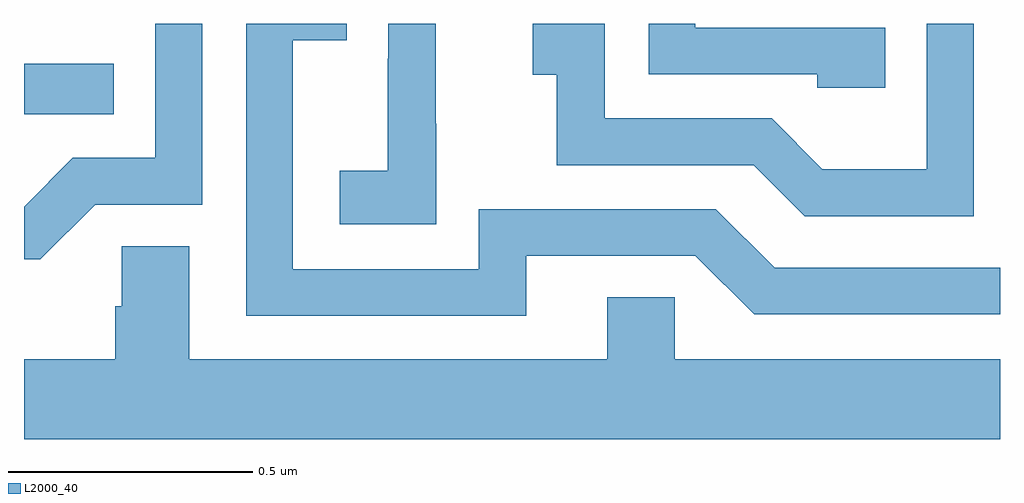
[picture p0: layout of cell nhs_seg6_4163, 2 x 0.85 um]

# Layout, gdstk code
import gdstk
lib = gdstk.Library(unit=1e-6, precision=1e-09)
def R(c, l, rs):  # rectangles x0, y0, x1, y1
    for r in rs: c.add(gdstk.rectangle(r[:2], r[2:], *l))
def P(c, l, *ps):  # polygons
    for p in ps: c.add(gdstk.Polygon(p, *l))
L2000_40 = (2000, 40)

nhs_seg6_4163 = lib.new_cell('nhs_seg6_4163')
R(nhs_seg6_4163, L2000_40, [(166,969.314,166.184,969.418)])
P(nhs_seg6_4163, L2000_40, [(166.146,969.129),(166.365,969.129),(166.365,969.5),(166.269,969.5),(166.269,969.225),(166.1,969.225),(166,969.125),(166,969.017),(166.033,969.017)],
  [(166.845,969.295),(166.844,969.295),(166.844,969.5),(166.746,969.5),(166.746,969.428),(166.745,969.428),(166.745,969.199),(166.647,969.199),(166.647,969.089),(166.845,969.089)],
  [(167.765,969.492),(167.376,969.492),(167.376,969.5),(167.28,969.5),(167.28,969.396),(167.625,969.396),(167.625,969.369),(167.765,969.369)],
  [(167.029,969.024),(167.376,969.024),(167.496,968.904),(168,968.904),(168,969),(167.538,969),(167.418,969.12),(166.932,969.12),(166.932,968.997),(166.551,968.997),(166.551,969.466),(166.661,969.466),(166.661,969.5),(166.455,969.5),(166.455,968.901),(167.029,968.901)],
  [(167.946,969.5),(167.85,969.5),(167.85,969.202),(167.636,969.202),(167.532,969.306),(167.19,969.306),(167.19,969.5),(167.043,969.5),(167.043,969.395),(167.092,969.395),(167.092,969.21),(167.495,969.21),(167.6,969.105),(167.946,969.105)],
  [(168,968.812),(167.334,968.812),(167.334,968.939),(167.195,968.939),(167.195,968.812),(166.339,968.812),(166.339,969.044),(166.2,969.044),(166.2,968.921),(166.187,968.921),(166.187,968.812),(166,968.812),(166,968.648),(168,968.648)])

lib.write_gds('nhs_seg6_4163.gds')
